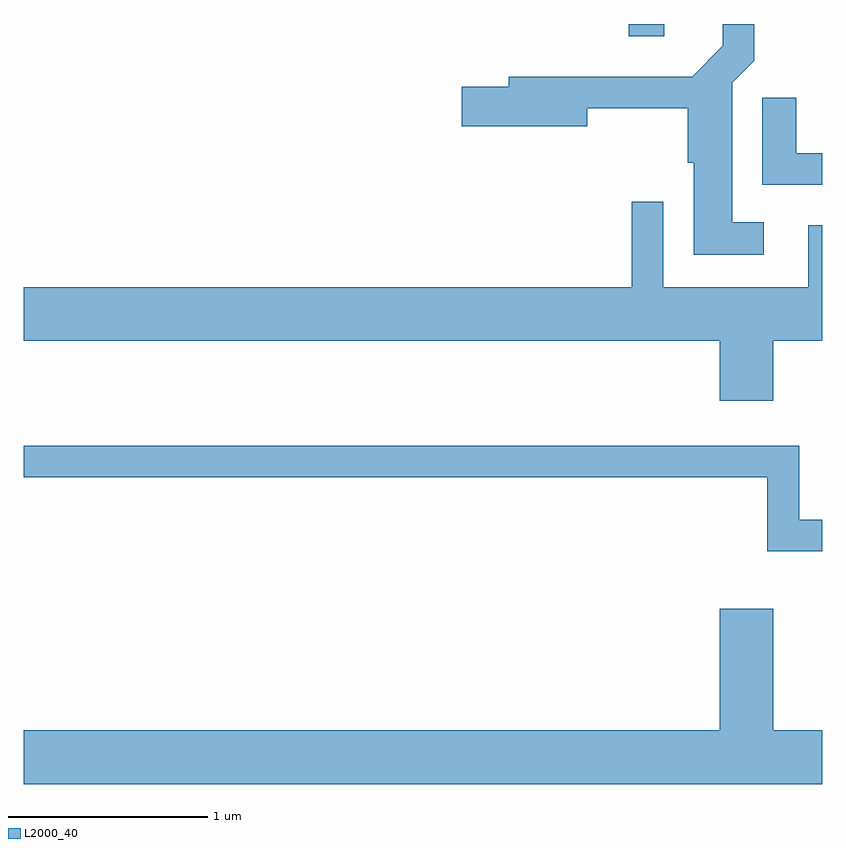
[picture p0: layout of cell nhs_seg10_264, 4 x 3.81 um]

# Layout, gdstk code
import gdstk
lib = gdstk.Library(unit=1e-6, precision=1e-09)
def R(c, l, rs):  # rectangles x0, y0, x1, y1
    for r in rs: c.add(gdstk.rectangle(r[:2], r[2:], *l))
def P(c, l, *ps):  # polygons
    for p in ps: c.add(gdstk.Polygon(p, *l))
L2000_40 = (2000, 40)

nhs_seg10_264 = lib.new_cell('nhs_seg10_264')
R(nhs_seg10_264, L2000_40, [(194.641,2206.461,194.819,2206.522)])
P(nhs_seg10_264, L2000_40, [(195.318,2205.529),(195.159,2205.529),(195.159,2206.229),(195.269,2206.339),(195.269,2206.522),(195.111,2206.522),(195.111,2206.412),(194.959,2206.259),(194.041,2206.259),(194.041,2206.209),(193.806,2206.209),(193.806,2206.011),(194.434,2206.011),(194.434,2206.101),(194.936,2206.101),(194.936,2205.826),(194.966,2205.826),(194.966,2205.366),(195.318,2205.366)],
  [(195.611,2205.874),(195.479,2205.874),(195.479,2206.153),(195.311,2206.153),(195.311,2205.716),(195.611,2205.716)],
  [(195.364,2204.936),(195.611,2204.936),(195.611,2205.514),(195.541,2205.514),(195.541,2205.204),(194.814,2205.204),(194.814,2205.633),(194.656,2205.633),(194.656,2205.204),(191.611,2205.204),(191.611,2204.936),(195.096,2204.936),(195.096,2204.636),(195.364,2204.636)],
  [(195.611,2204.039),(195.494,2204.039),(195.494,2204.409),(191.611,2204.409),(191.611,2204.251),(195.336,2204.251),(195.336,2203.881),(195.611,2203.881)],
  [(195.611,2202.984),(195.364,2202.984),(195.364,2203.594),(195.096,2203.594),(195.096,2202.984),(191.611,2202.984),(191.611,2202.716),(195.611,2202.716)])

lib.write_gds('nhs_seg10_264.gds')
